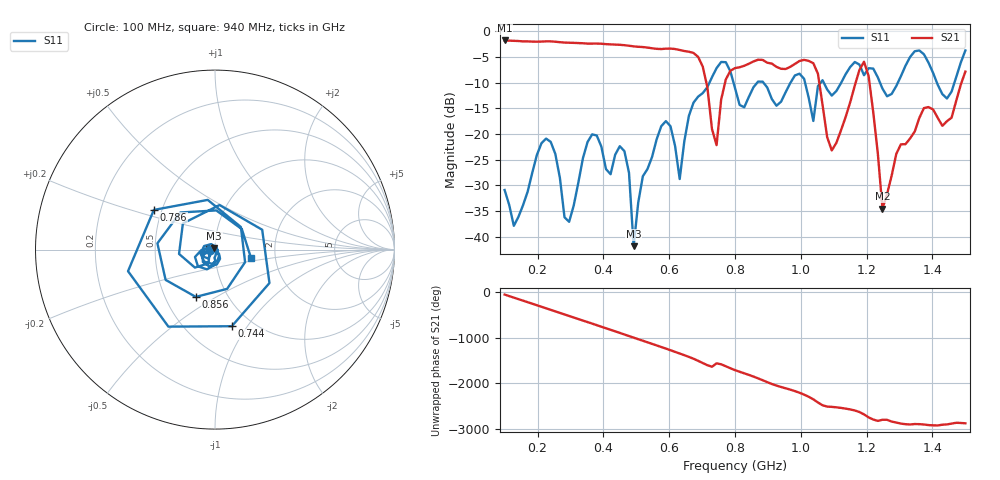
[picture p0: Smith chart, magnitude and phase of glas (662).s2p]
! NanoVNA-App
! Date: 2025-09-25 16:00:38
! Start: 100MHz Stop: 1,5GHz Points: 101
! S-Parameter data: F S11 S21 S12 S22
# Hz S RI R 50
!  Frequency  S11_Real  S11_Imag  S21_Real  S21_Imag  S12_Real  S12_Imag  S22_Real  S22_Imag
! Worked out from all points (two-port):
!   101 points, 100 MHz to 1.5 GHz, reference 50 ohm
!   highest |S21| = -1.80 dB at 100 MHz (marker M1); lowest = -34.5 dB at 1.248 GHz (marker M2)
!   |S21| within 3 dB of the highest: start of sweep to 684.3 MHz
!   lowest |S11| = -41.9 dB at 492 MHz (marker M3), VSWR 1.02, Z = 49.5 + j0.617 ohm
!   |S11| at or under -10 dB: start of sweep to 722.5 MHz; 795.4 MHz to 867.7 MHz (72.29 MHz wide, 8.69 % of centre); 886.2 MHz to 968.9 MHz (82.69 MHz wide, 8.92 % of centre) (the widest 3 of 7)
!   S12 and S22 are empty: the file has one direction only
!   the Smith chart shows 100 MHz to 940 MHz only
!   S11 on the Smith chart (normalised r, x): 100 MHz: 0.94, -0.01; 744 MHz: 0.81, -0.85; 786 MHz: 0.45, +0.24; 856 MHz: 0.71, -0.41; 940 MHz: 1.49, -0.15
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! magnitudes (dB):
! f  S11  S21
! 100 MHz  -30.9  -1.8
! 128 MHz  -37.9  -1.9
! 226 MHz  -20.9  -2.0
! 296 MHz  -37.1  -2.2
! 338 MHz  -24.7  -2.3
! 464 MHz  -23.4  -2.7
! 492 MHz  -41.9  -3.0
! 576 MHz  -18.5  -3.5
! 632 MHz  -28.8  -3.7
! 702 MHz  -12.1  -6.9
! 744 MHz  -7.2  -22.2
! 786 MHz  -7.8  -7.7
! 800 MHz  -11.1  -7.2
! 856 MHz  -10.9  -5.9
! 940 MHz  -13.7  -7.3
! 996 MHz  -8.3  -5.8
! 1.038 GHz  -17.5  -6.2
! 1.094 GHz  -12.5  -23.2
! 1.192 GHz  -8.6  -6.0
! 1.248 GHz  -11.2  -34.5
! 1.276 GHz  -12.2  -28.1
! 1.5 GHz  -3.8  -7.9
